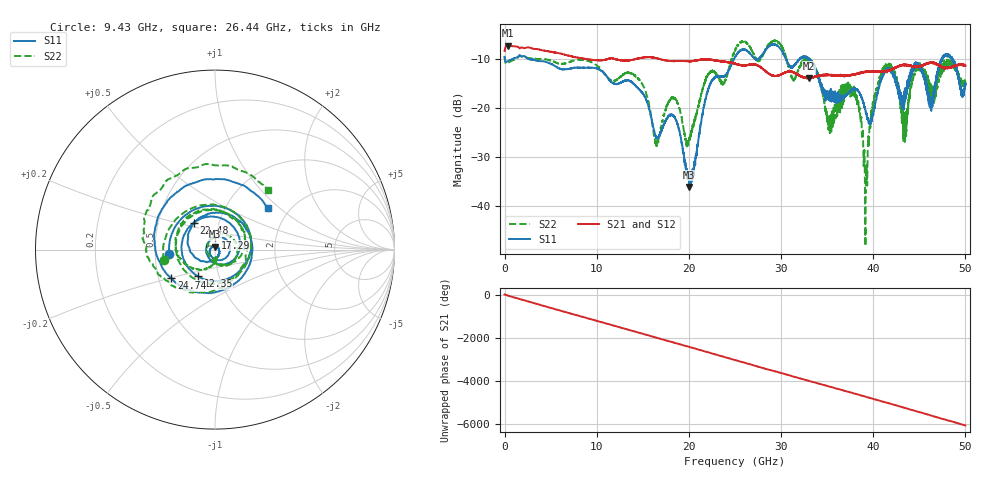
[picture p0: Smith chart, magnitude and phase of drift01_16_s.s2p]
!Created with skrf (http://scikit-rf.org).
# Hz S RI R 50.0
!freq ReS11 ImS11 ReS21 ImS21 ReS12 ImS12 ReS22 ImS22
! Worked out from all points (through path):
!   10001 points, 300 kHz to 50 GHz, reference 50 ohm
!   highest |S21| = -7.33 dB at 365.3 MHz (marker M1); lowest = -14.0 dB at 33.05 GHz (marker M2)
!   group delay of S21, straight-line fit = 335 ps
!   lowest |S11| = -36.1 dB at 20.01 GHz (marker M3), VSWR 1.03, Z = 49.9 + j1.57 ohm
!   |S11| at or under -10 dB: 2.567 GHz to 24.9 GHz (22.34 GHz wide, 163 % of centre); 30.51 GHz to 32.01 GHz (1.509 GHz wide, 4.83 % of centre); 33.05 GHz to 47.42 GHz (14.37 GHz wide, 35.7 % of centre) (the widest 3 of 25)
!   |S22| runs from -48.1 to -6.3 dB; largest |S21 - S12| = 0.0081
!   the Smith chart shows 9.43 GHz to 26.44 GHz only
!   S11 on the Smith chart (normalised r, x): 9.43 GHz: 0.59, -0.03; 12.35 GHz: 0.79, -0.24; 17.29 GHz: 0.99, +0.13; 22.48 GHz: 0.76, +0.24; 24.74 GHz: 0.58, -0.20; 26.44 GHz: 1.57, +0.83
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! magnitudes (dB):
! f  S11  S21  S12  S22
! 300 kHz  -9.6  -8.4  -8.5  -9.5
! 365.3 MHz  -10.4  -7.3  -7.3  -10.8
! 8.335 GHz  -11.8  -9.9  -9.9  -10.2
! 9.43 GHz  -11.8  -10.2  -10.2  -10.7
! 12.35 GHz  -15.1  -10.2  -10.2  -14.0
! 16.67 GHz  -26.0  -10.0  -10.0  -27.0
! 17.29 GHz  -23.4  -10.3  -10.2  -21.6
! 20.01 GHz  -36.1  -10.5  -10.5  -26.6
! 22.48 GHz  -14.4  -10.2  -10.2  -12.5
! 24.74 GHz  -10.7  -10.9  -10.9  -9.5
! 25 GHz  -9.6  -11.0  -11.0  -8.3
! 26.44 GHz  -8.6  -11.2  -11.3  -7.1
! 33.05 GHz  -10.2  -14.0  -14.0  -10.1
! 33.34 GHz  -10.9  -13.8  -13.8  -10.7
! 35.23 GHz  -17.5  -13.3  -13.3  -22.0
! 37.98 GHz  -16.1  -13.2  -13.2  -17.0
! 39.17 GHz  -20.7  -12.6  -12.6  -41.8
! 40.16 GHz  -20.0  -12.5  -12.5  -17.6
! 41.67 GHz  -12.2  -12.3  -12.4  -11.8
! 43.39 GHz  -18.3  -11.3  -11.2  -24.2
! 44.86 GHz  -11.2  -11.6  -11.5  -11.8
! 50 GHz  -15.4  -11.4  -11.4  -15.0
